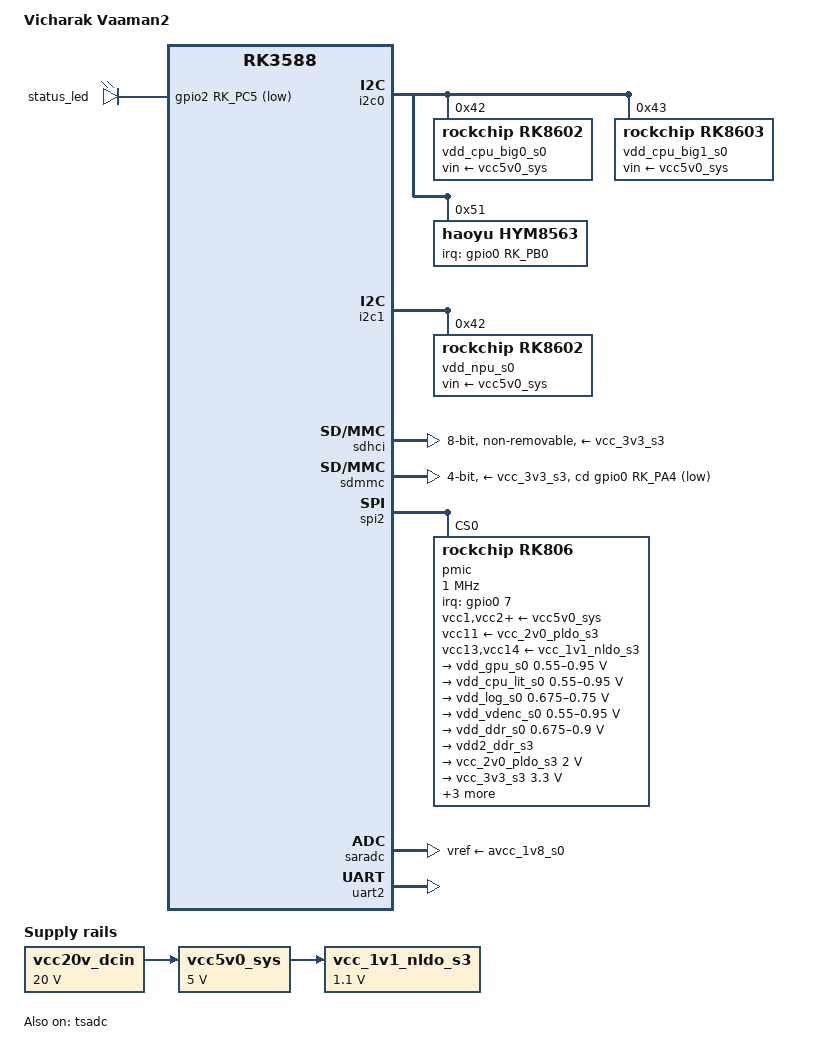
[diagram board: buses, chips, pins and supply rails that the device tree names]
// SPDX-License-Identifier: (GPL-2.0+ OR MIT)

/dts-v1/;

#include <dt-bindings/gpio/gpio.h>
#include <dt-bindings/input/linux-event-codes.h>
#include <dt-bindings/leds/common.h>
#include <dt-bindings/pinctrl/rockchip.h>
#include <dt-bindings/soc/rockchip,vop2.h>
#include "rk3588.dtsi"

/ {
	model = "Vicharak Vaaman2";
	compatible = "vicharak,vaaman2", "rockchip,rk3588";

	aliases {
		mmc0 = &sdmmc;
		mmc1 = &sdhci;
		serial2 = &uart2;
	};

	chosen {
		stdout-path = "serial2:1500000n8";
	};

	leds {
		compatible = "gpio-leds";

		status_led: led-0 {
			default-state = "on";
			function = LED_FUNCTION_STATUS;
			gpios = <&gpio2 RK_PC5 GPIO_ACTIVE_LOW>;
			retain-state-suspended;
			linux,default-trigger = "heartbeat";
		};
	};

	vcc20v_dcin: regulator-vcc20v-dcin {
		compatible = "regulator-fixed";
		regulator-always-on;
		regulator-boot-on;
		regulator-min-microvolt = <20000000>;
		regulator-max-microvolt = <20000000>;
		regulator-name = "vcc20v_dcin";
	};

	vcc5v0_sys: regulator-vcc5v0-sys {
		compatible = "regulator-fixed";
		regulator-always-on;
		regulator-boot-on;
		regulator-min-microvolt = <5000000>;
		regulator-max-microvolt = <5000000>;
		vin-supply = <&vcc20v_dcin>;
		regulator-name = "vcc5v0_sys";
	};

	vcc_1v1_nldo_s3: regulator-vcc-1v1-nldo-s3 {
		compatible = "regulator-fixed";
		regulator-always-on;
		regulator-boot-on;
		regulator-min-microvolt = <1100000>;
		regulator-max-microvolt = <1100000>;
		regulator-name = "vcc_1v1_nldo_s3";
		vin-supply = <&vcc5v0_sys>;
	};
};

&cpu_b0 {
	cpu-supply = <&vdd_cpu_big0_s0>;
};

&cpu_b1 {
	cpu-supply = <&vdd_cpu_big0_s0>;
};

&cpu_b2 {
	cpu-supply = <&vdd_cpu_big1_s0>;
};

&cpu_b3 {
	cpu-supply = <&vdd_cpu_big1_s0>;
};

&cpu_l0 {
	cpu-supply = <&vdd_cpu_lit_s0>;
};

&cpu_l1 {
	cpu-supply = <&vdd_cpu_lit_s0>;
};

&cpu_l2 {
	cpu-supply = <&vdd_cpu_lit_s0>;
};

&cpu_l3 {
	cpu-supply = <&vdd_cpu_lit_s0>;
};

&i2c0 {
	pinctrl-0 = <&i2c0m2_xfer>;
	pinctrl-names = "default";
	status = "okay";

	vdd_cpu_big0_s0: regulator@42 {
		compatible = "rockchip,rk8602";
		reg = <0x42>;
		regulator-always-on;
		regulator-boot-on;
		regulator-max-microvolt = <1050000>;
		regulator-min-microvolt = <550000>;
		regulator-name = "vdd_cpu_big0_s0";
		regulator-ramp-delay = <2300>;
		vin-supply = <&vcc5v0_sys>;
		fcs,suspend-voltage-selector = <1>;

		regulator-state-mem {
			regulator-off-in-suspend;
		};
	};

	vdd_cpu_big1_s0: regulator@43 {
		compatible = "rockchip,rk8603", "rockchip,rk8602";
		reg = <0x43>;
		regulator-always-on;
		regulator-boot-on;
		regulator-max-microvolt = <1050000>;
		regulator-min-microvolt = <550000>;
		regulator-name = "vdd_cpu_big1_s0";
		regulator-ramp-delay = <2300>;
		vin-supply = <&vcc5v0_sys>;
		fcs,suspend-voltage-selector = <1>;

		regulator-state-mem {
			regulator-off-in-suspend;
		};
	};

	hym8563: rtc@51 {
		compatible = "haoyu,hym8563";
		reg = <0x51>;
		#clock-cells = <0>;
		clock-output-names = "hym8563";
		interrupt-parent = <&gpio0>;
		interrupts = <RK_PB0 IRQ_TYPE_LEVEL_LOW>;
		pinctrl-names = "default";
		pinctrl-0 = <&rtc_int>;
		wakeup-source;
	};
};

&i2c1 {
	pinctrl-names = "default";
	pinctrl-0 = <&i2c1m2_xfer>;
	status = "okay";

	vdd_npu_s0: regulator@42 {
		compatible = "rockchip,rk8602";
		reg = <0x42>;
		regulator-name = "vdd_npu_s0";
		regulator-boot-on;
		regulator-enable-ramp-delay = <500>;
		regulator-min-microvolt = <550000>;
		regulator-max-microvolt = <950000>;
		regulator-ramp-delay = <2300>;
		vin-supply = <&vcc5v0_sys>;
		fcs,suspend-voltage-selector = <1>;

		regulator-state-mem {
			regulator-off-in-suspend;
		};
	};
};

&sdhci {
	bus-width = <8>;
	full-pwr-cycle-in-suspend;
	mmc-hs400-1_8v;
	mmc-hs400-enhanced-strobe;
	no-sd;
	no-sdio;
	non-removable;
	vmmc-supply = <&vcc_3v3_s3>;
	vqmmc-supply = <&vcc_1v8_s3>;
	status = "okay";
};

&sdmmc {
	bus-width = <4>;
	cap-mmc-highspeed;
	cap-sd-highspeed;
	cd-gpios = <&gpio0 RK_PA4 GPIO_ACTIVE_LOW>;
	disable-wp;
	max-frequency = <200000000>;
	no-mmc;
	no-sdio;
	sd-uhs-sdr104;
	vmmc-supply = <&vcc_3v3_s3>;
	vqmmc-supply = <&vccio_sd_s0>;
	status = "okay";
};

&spi2 {
	assigned-clock-rates = <200000000>;
	assigned-clocks = <&cru CLK_SPI2>;
	num-cs = <1>;
	pinctrl-0 = <&spi2m2_cs0 &spi2m2_pins>;
	pinctrl-names = "default";
	#address-cells = <1>;
	#size-cells = <0>;
	status = "okay";

	pmic@0 {
		compatible = "rockchip,rk806";
		reg = <0>;
		#gpio-cells = <2>;
		gpio-controller;
		interrupt-parent = <&gpio0>;
		interrupts = <7 IRQ_TYPE_LEVEL_LOW>;
		pinctrl-names = "default";
		pinctrl-0 = <&pmic_pins>, <&rk806_dvs1_null>,
					<&rk806_dvs2_null>, <&rk806_dvs3_null>;
		spi-max-frequency = <1000000>;

		vcc1-supply = <&vcc5v0_sys>;
		vcc2-supply = <&vcc5v0_sys>;
		vcc3-supply = <&vcc5v0_sys>;
		vcc4-supply = <&vcc5v0_sys>;
		vcc5-supply = <&vcc5v0_sys>;
		vcc6-supply = <&vcc5v0_sys>;
		vcc7-supply = <&vcc5v0_sys>;
		vcc8-supply = <&vcc5v0_sys>;
		vcc9-supply = <&vcc5v0_sys>;
		vcc10-supply = <&vcc5v0_sys>;
		vcc11-supply = <&vcc_2v0_pldo_s3>;
		vcc12-supply = <&vcc5v0_sys>;
		vcc13-supply = <&vcc_1v1_nldo_s3>;
		vcc14-supply = <&vcc_1v1_nldo_s3>;
		vcca-supply = <&vcc5v0_sys>;

		rk806_dvs1_null: dvs1-null-pins {
			pins = "gpio_pwrctrl1";
			function = "pin_fun0";
		};

		rk806_dvs2_null: dvs2-null-pins {
			pins = "gpio_pwrctrl2";
			function = "pin_fun0";
		};

		rk806_dvs3_null: dvs3-null-pins {
			pins = "gpio_pwrctrl3";
			function = "pin_fun0";
		};

		regulators {
			vdd_gpu_s0: dcdc-reg1 {
				regulator-boot-on;
				regulator-enable-ramp-delay = <400>;
				regulator-min-microvolt = <550000>;
				regulator-max-microvolt = <950000>;
				regulator-name = "vdd_gpu_s0";
				regulator-ramp-delay = <12500>;

				regulator-state-mem {
					regulator-off-in-suspend;
				};
			};

			vdd_cpu_lit_s0: dcdc-reg2 {
				regulator-always-on;
				regulator-boot-on;
				regulator-min-microvolt = <550000>;
				regulator-max-microvolt = <950000>;
				regulator-name = "vdd_cpu_lit_s0";
				regulator-ramp-delay = <12500>;

				regulator-state-mem {
					regulator-off-in-suspend;
				};
			};

			vdd_log_s0: dcdc-reg3 {
				regulator-always-on;
				regulator-boot-on;
				regulator-min-microvolt = <675000>;
				regulator-max-microvolt = <750000>;
				regulator-name = "vdd_log_s0";
				regulator-ramp-delay = <12500>;

				regulator-state-mem {
					regulator-off-in-suspend;
				};
			};

			vdd_vdenc_s0: dcdc-reg4 {
				regulator-always-on;
				regulator-boot-on;
				regulator-min-microvolt = <550000>;
				regulator-max-microvolt = <950000>;
				regulator-ramp-delay = <12500>;
				regulator-name = "vdd_vdenc_s0";

				regulator-state-mem {
					regulator-off-in-suspend;
				};
			};

			vdd_ddr_s0: dcdc-reg5 {
				regulator-always-on;
				regulator-boot-on;
				regulator-min-microvolt = <675000>;
				regulator-max-microvolt = <900000>;
				regulator-ramp-delay = <12500>;
				regulator-name = "vdd_ddr_s0";

				regulator-state-mem {
					regulator-off-in-suspend;
				};
			};

			vdd2_ddr_s3: dcdc-reg6 {
				regulator-always-on;
				regulator-boot-on;
				regulator-name = "vdd2_ddr_s3";

				regulator-state-mem {
					regulator-on-in-suspend;
				};
			};

			vcc_2v0_pldo_s3: dcdc-reg7 {
				regulator-always-on;
				regulator-boot-on;
				regulator-min-microvolt = <2000000>;
				regulator-max-microvolt = <2000000>;
				regulator-name = "vdd_2v0_pldo_s3";

				regulator-state-mem {
					regulator-on-in-suspend;
				};
			};

			vcc_3v3_s3: dcdc-reg8 {
				regulator-always-on;
				regulator-boot-on;
				regulator-min-microvolt = <3300000>;
				regulator-max-microvolt = <3300000>;
				regulator-name = "vcc_3v3_s3";

				regulator-state-mem {
					regulator-on-in-suspend;
				};
			};

			vddq_ddr_s0: dcdc-reg9 {
				regulator-always-on;
				regulator-boot-on;
				regulator-name = "vddq_ddr_s0";

				regulator-state-mem {
					regulator-off-in-suspend;
				};
			};

			vcc_1v8_s3: dcdc-reg10 {
				regulator-always-on;
				regulator-boot-on;
				regulator-min-microvolt = <1800000>;
				regulator-max-microvolt = <1800000>;
				regulator-name = "vcc_1v8_s3";

				regulator-state-mem {
					regulator-on-in-suspend;
				};
			};

			avcc_1v8_s0: pldo-reg1 {
				regulator-always-on;
				regulator-boot-on;
				regulator-min-microvolt = <1800000>;
				regulator-max-microvolt = <1800000>;
				regulator-name = "avcc_1v8_s0";

				regulator-state-mem {
					regulator-off-in-suspend;
				};
			};

			vcc_1v8_s0: pldo-reg2 {
				regulator-always-on;
				regulator-boot-on;
				regulator-min-microvolt = <1800000>;
				regulator-max-microvolt = <1800000>;
				regulator-name = "vcc_1v8_s0";

				regulator-state-mem {
					regulator-off-in-suspend;
				};
			};

			avdd_1v2_s0: pldo-reg3 {
				regulator-always-on;
				regulator-boot-on;
				regulator-min-microvolt = <1200000>;
				regulator-max-microvolt = <1200000>;
				regulator-name = "avdd_1v2_s0";

				regulator-state-mem {
					regulator-off-in-suspend;
				};
			};

			vcc_3v3_s0: pldo-reg4 {
				regulator-always-on;
				regulator-boot-on;
				regulator-min-microvolt = <3300000>;
				regulator-max-microvolt = <3300000>;
				regulator-name = "vcc_3v3_s0";

				regulator-state-mem {
					regulator-off-in-suspend;
				};
			};

			vccio_sd_s0: pldo-reg5 {
				regulator-always-on;
				regulator-boot-on;
				regulator-min-microvolt = <1800000>;
				regulator-max-microvolt = <3300000>;
				regulator-name = "vccio_sd_s0";

				regulator-state-mem {
					regulator-off-in-suspend;
				};
			};

			pldo6_s3: pldo-reg6 {
				regulator-always-on;
				regulator-boot-on;
				regulator-min-microvolt = <1800000>;
				regulator-max-microvolt = <1800000>;
				regulator-name = "pldo6_s3";

				regulator-state-mem {
					regulator-on-in-suspend;
				};
			};

			vdd_0v75_s3: nldo-reg1 {
				regulator-always-on;
				regulator-boot-on;
				regulator-min-microvolt = <750000>;
				regulator-max-microvolt = <750000>;
				regulator-name = "vdd_0v75_s3";

				regulator-state-mem {
					regulator-on-in-suspend;
				};
			};

			vdd_ddr_pll_s0: nldo-reg2 {
				regulator-always-on;
				regulator-boot-on;
				regulator-min-microvolt = <850000>;
				regulator-max-microvolt = <850000>;
				regulator-name = "vdd_ddr_pll_s0";

				regulator-state-mem {
					regulator-off-in-suspend;
				};
			};

			avdd_0v75_s0: nldo-reg3 {
				regulator-always-on;
				regulator-boot-on;
				regulator-min-microvolt = <837500>;
				regulator-max-microvolt = <837500>;
				regulator-name = "avdd_0v75_s0";

				regulator-state-mem {
					regulator-off-in-suspend;
				};
			};

			vdd_0v85_s0: nldo-reg4 {
				regulator-always-on;
				regulator-boot-on;
				regulator-min-microvolt = <850000>;
				regulator-max-microvolt = <850000>;
				regulator-name = "vdd_0v85_s0";

				regulator-state-mem {
					regulator-off-in-suspend;
				};
			};

			vdd_0v75_s0: nldo-reg5 {
				regulator-always-on;
				regulator-boot-on;
				regulator-min-microvolt = <750000>;
				regulator-max-microvolt = <750000>;
				regulator-name = "vdd_0v75_s0";

				regulator-state-mem {
					regulator-off-in-suspend;
				};
			};
		};
	};
};

&pinctrl {
	hym8563 {
		rtc_int: rtc-int {
			rockchip,pins =
				<0 RK_PB0 RK_FUNC_GPIO &pcfg_pull_none>;
		};
	};
};

&saradc {
	vref-supply = <&avcc_1v8_s0>;
	status = "okay";
};

&tsadc {
	status = "okay";
};

&uart2 {
	pinctrl-names = "default";
	pinctrl-0 = <&uart2m0_xfer>;
	status = "okay";
};
